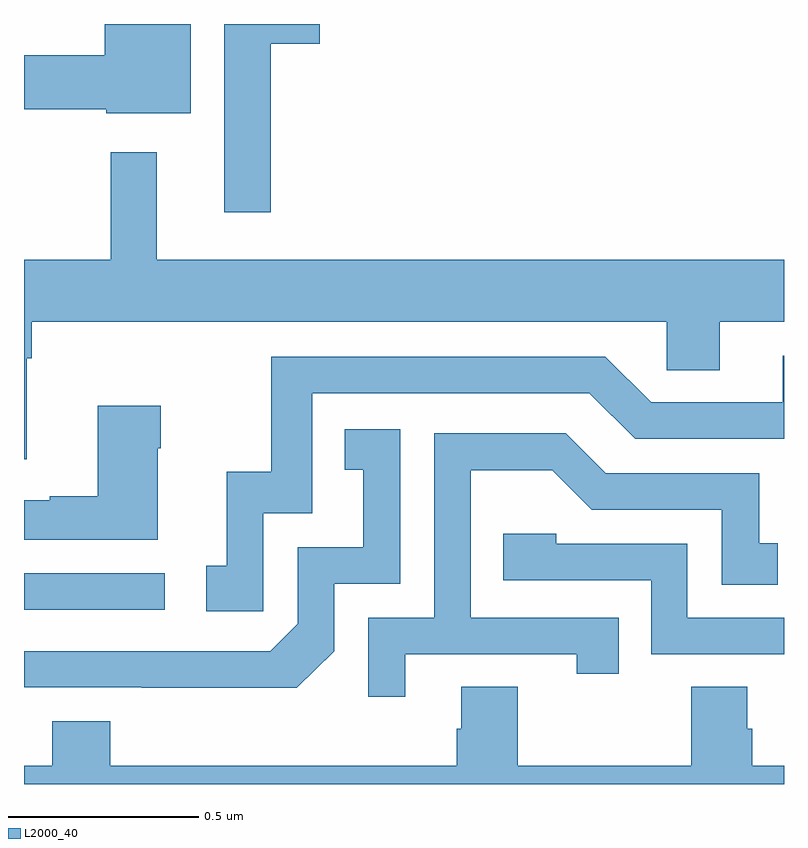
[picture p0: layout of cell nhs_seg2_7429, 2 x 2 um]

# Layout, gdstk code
import gdstk
lib = gdstk.Library(unit=1e-6, precision=1e-09)
def R(c, l, rs):  # rectangles x0, y0, x1, y1
    for r in rs: c.add(gdstk.rectangle(r[:2], r[2:], *l))
def P(c, l, *ps):  # polygons
    for p in ps: c.add(gdstk.Polygon(p, *l))
L2000_40 = (2000, 40)

nhs_seg2_7429 = lib.new_cell('nhs_seg2_7429')
R(nhs_seg2_7429, L2000_40, [(204,600.258,204.37,600.354)])
P(nhs_seg2_7429, L2000_40, [(204.649,601.748),(204.778,601.748),(204.778,601.8),(204.527,601.8),(204.527,601.305),(204.649,601.305)],
  [(204.439,601.8),(204.212,601.8),(204.212,601.718),(204,601.718),(204,601.576),(204.216,601.576),(204.216,601.565),(204.439,601.565)],
  [(204.007,600.92),(204.02,600.92),(204.02,601.016),(205.692,601.016),(205.692,600.889),(205.831,600.889),(205.831,601.016),(206,601.016),(206,601.18),(204.349,601.18),(204.349,601.462),(204.228,601.462),(204.228,601.18),(204,601.18),(204,600.654),(204.007,600.654)],
  [(204.63,600.513),(204.759,600.513),(204.759,600.828),(205.488,600.828),(205.608,600.708),(206,600.708),(206,600.927),(205.997,600.927),(205.997,600.804),(205.65,600.804),(205.53,600.924),(204.651,600.924),(204.651,600.622),(204.533,600.622),(204.533,600.375),(204.48,600.375),(204.48,600.255),(204.63,600.255)],
  [(204.352,600.683),(204.36,600.683),(204.36,600.796),(204.194,600.796),(204.194,600.557),(204.068,600.557),(204.068,600.547),(204,600.547),(204,600.443),(204.352,600.443)],
  [(204.816,600.15),(204.816,600.327),(204.99,600.327),(204.99,600.733),(204.844,600.733),(204.844,600.627),(204.893,600.627),(204.893,600.423),(204.72,600.423),(204.72,600.222),(204.648,600.15),(204,600.15),(204,600.054),(204.31,600.054),(204.31,600.053),(204.718,600.053)],
  [(205.003,600.141),(205.454,600.141),(205.454,600.09),(205.565,600.09),(205.565,600.237),(205.176,600.237),(205.176,600.626),(205.39,600.626),(205.494,600.522),(205.836,600.522),(205.836,600.324),(205.984,600.324),(205.984,600.433),(205.935,600.433),(205.935,600.618),(205.531,600.618),(205.426,600.723),(205.08,600.723),(205.08,600.237),(204.906,600.237),(204.906,600.03),(205.003,600.03)],
  [(206,600.237),(205.746,600.237),(205.746,600.432),(205.401,600.432),(205.401,600.459),(205.261,600.459),(205.261,600.336),(205.65,600.336),(205.65,600.141),(206,600.141)],
  [(206,599.848),(205.916,599.848),(205.916,599.946),(205.903,599.946),(205.903,600.056),(205.756,600.056),(205.756,599.848),(205.299,599.848),(205.299,600.056),(205.151,600.056),(205.151,599.946),(205.139,599.946),(205.139,599.848),(204.227,599.848),(204.227,599.965),(204.074,599.965),(204.074,599.848),(204,599.848),(204,599.8),(206,599.8)])

lib.write_gds('nhs_seg2_7429.gds')
